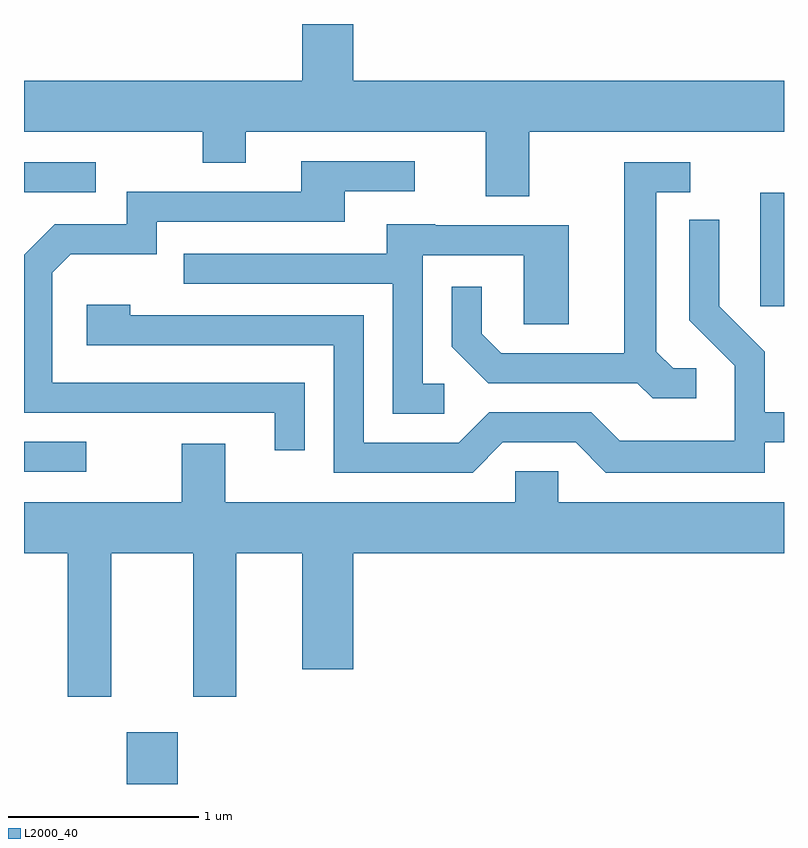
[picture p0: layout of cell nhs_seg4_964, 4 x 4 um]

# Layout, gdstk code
import gdstk
lib = gdstk.Library(unit=1e-6, precision=1e-09)
def R(c, l, rs):  # rectangles x0, y0, x1, y1
    for r in rs: c.add(gdstk.rectangle(r[:2], r[2:], *l))
def P(c, l, *ps):  # polygons
    for p in ps: c.add(gdstk.Polygon(p, *l))
L2000_40 = (2000, 40)

nhs_seg4_964 = lib.new_cell('nhs_seg4_964')
R(nhs_seg4_964, L2000_40, [(214.151,1277.982,214.419,1278.254), (213.611,1279.626,213.938,1279.784), (217.486,1280.496,217.611,1281.094), (213.611,1281.096,213.988,1281.254)])
P(nhs_seg4_964, L2000_40, [(216.269,1281.416),(217.611,1281.416),(217.611,1281.684),(215.344,1281.684),(215.344,1281.982),(215.076,1281.982),(215.076,1281.684),(213.611,1281.684),(213.611,1281.416),(214.551,1281.416),(214.551,1281.251),(214.779,1281.251),(214.779,1281.416),(216.041,1281.416),(216.041,1281.076),(216.269,1281.076)],
  [(215.089,1280.094),(213.759,1280.094),(213.759,1280.674),(213.857,1280.771),(214.309,1280.771),(214.309,1280.941),(215.299,1280.941),(215.299,1281.101),(215.668,1281.101),(215.668,1281.259),(215.071,1281.259),(215.071,1281.099),(214.151,1281.099),(214.151,1280.929),(213.774,1280.929),(213.611,1280.767),(213.611,1279.936),(214.931,1279.936),(214.931,1279.738),(215.089,1279.738)],
  [(217.148,1280.169),(217.027,1280.169),(216.939,1280.257),(216.939,1281.096),(217.118,1281.096),(217.118,1281.254),(216.771,1281.254),(216.771,1280.249),(216.122,1280.249),(216.019,1280.352),(216.019,1280.598),(215.861,1280.598),(215.861,1280.284),(216.054,1280.091),(216.839,1280.091),(216.919,1280.011),(217.148,1280.011)],
  [(216.132,1279.781),(216.514,1279.781),(216.674,1279.621),(217.509,1279.621),(217.509,1279.781),(217.611,1279.781),(217.611,1279.939),(217.509,1279.939),(217.509,1280.257),(217.269,1280.497),(217.269,1280.953),(217.111,1280.953),(217.111,1280.424),(217.351,1280.184),(217.351,1279.789),(216.747,1279.789),(216.597,1279.939),(216.059,1279.939),(215.899,1279.779),(215.399,1279.779),(215.399,1280.449),(214.169,1280.449),(214.169,1280.504),(213.941,1280.504),(213.941,1280.291),(215.241,1280.291),(215.241,1279.621),(215.972,1279.621)],
  [(215.823,1280.089),(215.709,1280.089),(215.709,1280.766),(216.241,1280.766),(216.241,1280.401),(216.479,1280.401),(216.479,1280.924),(215.775,1280.924),(215.775,1280.929),(215.521,1280.929),(215.521,1280.774),(214.453,1280.774),(214.453,1280.616),(215.551,1280.616),(215.551,1279.931),(215.823,1279.931)],
  [(214.069,1279.196),(214.501,1279.196),(214.501,1278.441),(214.729,1278.441),(214.729,1279.196),(215.076,1279.196),(215.076,1278.586),(215.344,1278.586),(215.344,1279.196),(217.611,1279.196),(217.611,1279.464),(216.424,1279.464),(216.424,1279.629),(216.196,1279.629),(216.196,1279.464),(214.669,1279.464),(214.669,1279.774),(214.441,1279.774),(214.441,1279.464),(213.611,1279.464),(213.611,1279.196),(213.841,1279.196),(213.841,1278.441),(214.069,1278.441)])

lib.write_gds('nhs_seg4_964.gds')
